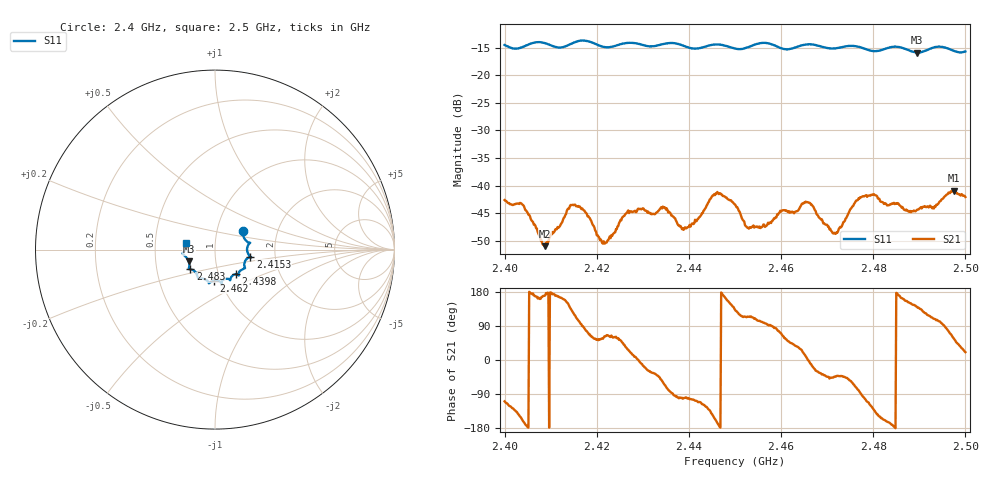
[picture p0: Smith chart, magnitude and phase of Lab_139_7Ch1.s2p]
# Hz S RI R 50
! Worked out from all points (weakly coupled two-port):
!   601 points, 2.4 GHz to 2.5 GHz, reference 50 ohm
!   highest |S21| = -40.91 dB at 2.4975 GHz (marker M1); lowest = -51.0 dB at 2.4087 GHz (marker M2)
!   lowest |S11| = -15.9 dB at 2.4895 GHz (marker M3), VSWR 1.38, Z = 36.9 - j5 ohm
!   |S11| at or under -10 dB: start of sweep to end of sweep
!   S12 and S22 are empty: the file has one direction only
!   S11 on the Smith chart (normalised r, x): 2.4 GHz: 1.33, +0.29; 2.4153 GHz: 1.48, -0.12; 2.4398 GHz: 1.21, -0.34; 2.462 GHz: 0.93, -0.33; 2.483 GHz: 0.74, -0.17; 2.5 GHz: 0.72, +0.06
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2.4e9  0.1553 0.1064  -0.00243 -0.00699  0 0  0 0
2.403833e9  0.173 0.0496  -0.00626 -0.00254  0 0  0 0
2.408667e9  0.1932 0.0357  -0.00278 0.000521  0 0  0 0
2.415333e9  0.1965 -0.0387  -0.00306 0.00598  0 0  0 0
2.416667e9  0.2023 -0.0428  -0.000461 0.00611  0 0  0 0
2.421667e9  0.1697 -0.0604  0.00138 0.00264  0 0  0 0
2.426667e9  0.168 -0.102  0.00512 0.00277  0 0  0 0
2.433333e9  0.1311 -0.1334  0.00438 -0.00394  0 0  0 0
2.434833e9  0.1308 -0.1429  0.00251 -0.00579  0 0  0 0
2.439833e9  0.1154 -0.1366  -0.000762 -0.00415  0 0  0 0
2.445667e9  0.0845 -0.1702  -0.00749 -0.00338  0 0  0 0
2.45e9  0.0646 -0.1625  -0.00455 0.00499  0 0  0 0
2.453e9  0.0382 -0.1765  -0.00166 0.00372  0 0  0 0
2.462e9  -0.00513 -0.1733  0.00408 0.00414  0 0  0 0
2.466667e9  -0.0342 -0.1874  0.0065 -0.0017  0 0  0 0
2.471667e9  -0.0661 -0.1622  0.00267 -0.00255  0 0  0 0
2.477333e9  -0.0967 -0.1505  9.98e-05 -0.00782  0 0  0 0
2.483e9  -0.1378 -0.1097  -0.00632 -0.00196  0 0  0 0
2.483333e9  -0.1403 -0.1094  -0.00639 -0.00177  0 0  0 0
2.4895e9  -0.1465 -0.0659  -0.00464 0.00386  0 0  0 0
2.4975e9  -0.1665 -0.00114  0.00505 0.00746  0 0  0 0
2.5e9  -0.1597 0.0391  0.00738 0.00279  0 0  0 0
